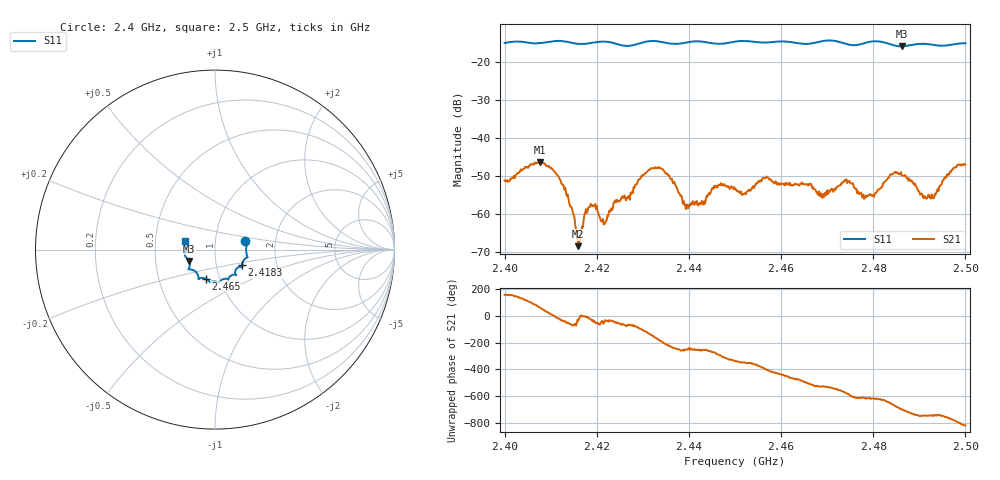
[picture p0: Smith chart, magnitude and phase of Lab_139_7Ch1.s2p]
# Hz S RI R 50
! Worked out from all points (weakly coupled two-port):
!   601 points, 2.4 GHz to 2.5 GHz, reference 50 ohm
!   highest |S21| = -46.28 dB at 2.4077 GHz (marker M1); lowest = -68.4 dB at 2.416 GHz (marker M2)
!   lowest |S11| = -16.0 dB at 2.4862 GHz (marker M3), VSWR 1.37, Z = 37.1 - j4.83 ohm
!   |S11| at or under -10 dB: start of sweep to end of sweep
!   S12 and S22 are empty: the file has one direction only
!   S11 on the Smith chart (normalised r, x): 2.4 GHz: 1.40, +0.13; 2.4183 GHz: 1.33, -0.24; 2.465 GHz: 0.86, -0.29; 2.5 GHz: 0.71, +0.07
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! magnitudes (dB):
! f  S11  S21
! 2.4 GHz  -15.1  -51.2
! 2.4077 GHz  -15.2  -46.3
! 2.4127 GHz  -14.7  -52.2
! 2.416 GHz  -15.4  -68.4
! 2.4167 GHz  -15.4  -64.7
! 2.4183 GHz  -15.2  -58.2
! 2.4217 GHz  -14.8  -62.6
! 2.4242 GHz  -15.4  -57.0
! 2.4333 GHz  -14.7  -47.9
! 2.4395 GHz  -15.0  -57.4
! 2.4468 GHz  -15.4  -52.3
! 2.45 GHz  -14.8  -53.6
! 2.4565 GHz  -15.0  -50.5
! 2.465 GHz  -15.4  -52.2
! 2.4667 GHz  -15.2  -52.6
! 2.4688 GHz  -14.7  -55.6
! 2.4743 GHz  -15.4  -51.8
! 2.4785 GHz  -15.0  -55.5
! 2.4833 GHz  -15.3  -50.5
! 2.4862 GHz  -16.0  -49.7
! 2.4927 GHz  -15.6  -54.8
! 2.5 GHz  -15.2  -47.0
